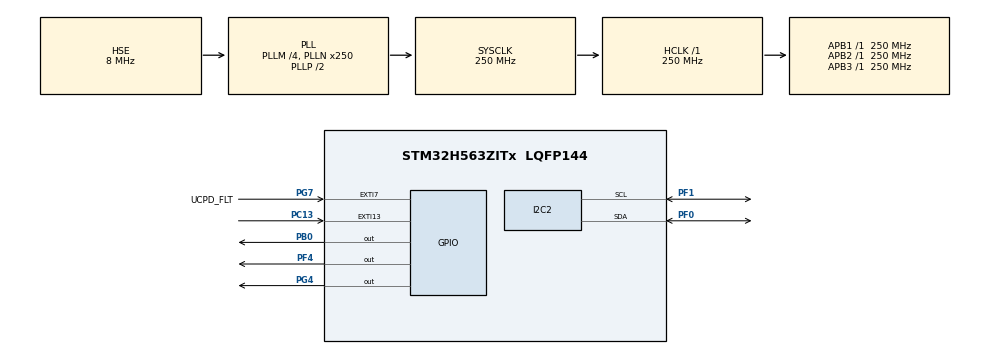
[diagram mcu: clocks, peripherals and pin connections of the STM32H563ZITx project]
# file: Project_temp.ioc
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BOOTPATH.BootPathName=LEGACY
BOOTPATH.UserSelectedBootPath=LEGACY
CORTEX_M33_NS.userName=CORTEX_M33
I2C2.Timing=0x60808CD3
Mcu.Family=STM32H5
Mcu.Name=STM32H563ZITx
Mcu.Package=LQFP144
NVIC.PriorityGroup=NVIC_PRIORITYGROUP_4
PA1.GPIO_Label=RMII_REF_CLK
PA1.GPIO_Mode=GPIO_MODE_AF_PP
PA1.GPIO_PuPd=GPIO_NOPULL
PA1.GPIO_Speed=GPIO_SPEED_FREQ_LOW
PA1.Signal=ETH_REF_CLK
PA11.GPIO_Label=USB_FS_N
PA11.Signal=USB_DM
PA12.GPIO_Label=USB_FS_P
PA12.Signal=USB_DP
PA13(JTMS/SWDIO).GPIO_Label=SWDIO
PA13(JTMS/SWDIO).Signal=DEBUG_JTMS-SWDIO
PA14(JTCK/SWCLK).GPIO_Label=SWCLK
PA14(JTCK/SWCLK).Signal=DEBUG_JTCK-SWCLK
PA15(JTDI).GPIO_Label=T_JTDI
PA15(JTDI).Signal=DEBUG_JTDI
PA2.GPIO_Label=RMII_MDIO
PA2.GPIO_Mode=GPIO_MODE_AF_PP
PA2.GPIO_PuPd=GPIO_NOPULL
PA2.GPIO_Speed=GPIO_SPEED_FREQ_LOW
PA2.Signal=ETH_MDIO
PA4.GPIO_Label=VBUS_SENSE
PA4.Signal=ADCx_INP18
PA7.GPIO_Label=RMII_CRS_DV
PA7.GPIO_Mode=GPIO_MODE_AF_PP
PA7.GPIO_PuPd=GPIO_NOPULL
PA7.GPIO_Speed=GPIO_SPEED_FREQ_LOW
PA7.Signal=ETH_CRS_DV
PA9.GPIO_Label=UCDP_DBn
PA9.Signal=UCPD1_DB1
PB0.Signal=GPIO_Output
PB13.GPIO_Label=UCPD_CC1
PB13.Signal=UCPD1_CC1
PB14.GPIO_Label=UCPD_CC2
PB14.Signal=UCPD1_CC2
PB15.GPIO_Label=RMII_TXD1
PB15.GPIO_Mode=GPIO_MODE_AF_PP
PB15.GPIO_PuPd=GPIO_NOPULL
PB15.GPIO_Speed=GPIO_SPEED_FREQ_LOW
PB15.Signal=ETH_TXD1
PB3(JTDO/TRACESWO).GPIO_Label=SWO
PB3(JTDO/TRACESWO).Signal=DEBUG_JTDO-SWO
PB6.GPIO_Label=ARD_D1_TX
PB6.Signal=LPUART1_TX
PB7.GPIO_Label=ARD_D0_RX
PB7.Signal=LPUART1_RX
PC1.GPIO_Label=RMII_MDC
PC1.GPIO_Mode=GPIO_MODE_AF_PP
PC1.GPIO_PuPd=GPIO_NOPULL
PC1.GPIO_Speed=GPIO_SPEED_FREQ_LOW
PC1.Signal=ETH_MDC
PC13.Signal=GPXTI13
PC14-OSC32_IN(OSC32_IN).Mode=LSE-External-Oscillator
PC14-OSC32_IN(OSC32_IN).Signal=RCC_OSC32_IN
PC15-OSC32_OUT(OSC32_OUT).Mode=LSE-External-Oscillator
PC15-OSC32_OUT(OSC32_OUT).Signal=RCC_OSC32_OUT
PC4.GPIO_Label=RMII_RXD0
PC4.GPIO_Mode=GPIO_MODE_AF_PP
PC4.GPIO_PuPd=GPIO_NOPULL
PC4.GPIO_Speed=GPIO_SPEED_FREQ_LOW
PC4.Signal=ETH_RXD0
PC5.GPIO_Label=RMII_RXD1
PC5.GPIO_Mode=GPIO_MODE_AF_PP
PC5.GPIO_PuPd=GPIO_NOPULL
PC5.GPIO_Speed=GPIO_SPEED_FREQ_LOW
PC5.Signal=ETH_RXD1
PD8.Signal=USART3_TX
PD9.Signal=USART3_RX
PE2.GPIO_Label=TRACE_CK
PE2.Signal=DEBUG_TRACECLK
PE3.GPIO_Label=TRACE_D0
PE3.Signal=DEBUG_TRACED0
PE4.GPIO_Label=TRACE_D1
PE4.Signal=DEBUG_TRACED1
PE5.GPIO_Label=TRACE_D2
PE5.Signal=DEBUG_TRACED2
PE6.GPIO_Label=TRACE_D3
PE6.Signal=DEBUG_TRACED3
PF0.Mode=I2C
PF0.Signal=I2C2_SDA
PF1.Mode=I2C
PF1.Signal=I2C2_SCL
PF4.Signal=GPIO_Output
PG11.GPIO_Label=RMII_TXT_EN
PG11.GPIO_Mode=GPIO_MODE_AF_PP
PG11.GPIO_PuPd=GPIO_NOPULL
PG11.GPIO_Speed=GPIO_SPEED_FREQ_LOW
PG11.Signal=ETH_TX_EN
PG13.GPIO_Label=RMI_TXD0
PG13.GPIO_Mode=GPIO_MODE_AF_PP
PG13.GPIO_PuPd=GPIO_NOPULL
PG13.GPIO_Speed=GPIO_SPEED_FREQ_LOW
PG13.Signal=ETH_TXD0
PG4.Signal=GPIO_Output
PG7.GPIO_Label=UCPD_FLT
PG7.Signal=GPXTI7
PH0-OSC_IN(PH0).GPIO_Label=STLK_MCO
PH0-OSC_IN(PH0).Mode=HSE-External-Clock-Source
PH0-OSC_IN(PH0).Signal=RCC_OSC_IN
ProjectManager.HeapSize=0x200
ProjectManager.StackSize=0x400
ProjectManager.TargetToolchain=STM32CubeIDE
RCC.ADCFreq_Value=250000000
RCC.AHBFreq_Value=250000000
RCC.APB1Freq_Value=250000000
RCC.APB1TimFreq_Value=250000000
RCC.APB2Freq_Value=250000000
RCC.APB2TimFreq_Value=250000000
RCC.APB3Freq_Value=250000000
RCC.CSI_VALUE=4000000
RCC.CortexFreq_Value=250000000
RCC.EPOD_VALUE=8000000
RCC.HCLKFreq_Value=250000000
RCC.HSE_VALUE=8000000
RCC.HSI48_VALUE=48000000
RCC.HSIDiv=RCC_HSI_DIV1
RCC.HSI_VALUE=64000000
RCC.LSIRC_VALUE=32000
RCC.PLLM=4
RCC.PLLN=250
RCC.PLLSourceVirtual=RCC_PLL1_SOURCE_HSE
RCC.SYSCLKFreq_VALUE=250000000
RCC.SYSCLKSource=RCC_SYSCLKSOURCE_PLLCLK
RCC.USBFreq_Value=48000000
RCC.VCOOutputFreq_Value=500000000
SH.ADCx_INP18.0=ADC1_INP18
VP_BOOTPATH_VS_BOOTPATH.Mode=BP_Activate
VP_CORTEX_M33_NS_VS_Hclk.Mode=Hclk_Mode
VP_MEMORYMAP_VS_MEMORYMAP.Mode=CurAppReg
VP_PWR_VS_DBSignals.Mode=DisableDeadBatterySignals
VP_PWR_VS_LPOM.Mode=PowerOptimisation
VP_PWR_VS_SECSignals.Mode=Security/Privilege
board=NUCLEO-H563ZI

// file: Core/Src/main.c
/* USER CODE BEGIN Header */
/**
  ******************************************************************************
  * @file           : main.c
  * @brief          : Main program body
  ******************************************************************************
  * @attention
  *
  * Copyright (c) 2025 STMicroelectronics.
  * All rights reserved.
  *
  * This software is licensed under terms that can be found in the LICENSE file
  * in the root directory of this software component.
  * If no LICENSE file comes with this software, it is provided AS-IS.
  *
  ******************************************************************************
  */
/* USER CODE END Header */
#include "main.h"

/* USER CODE BEGIN Includes */
#include <stdio.h>
/* USER CODE END Includes */

/* USER CODE BEGIN PM */
#define TMP117_ADDR         (0x48 << 1)   // 7-bit address shifted for HAL
#define TMP117_TEMP_REG     0x00
/* USER CODE END PM */

I2C_HandleTypeDef hi2c2;

void SystemClock_Config(void);
static void MX_GPIO_Init(void);
static void MX_I2C2_Init(void);

/* USER CODE BEGIN 0 */
float TMP117_ReadTemperature(void)
{
    uint8_t rx_buf[2] = {0};
    int16_t raw_temp = 0;
    float temperature = -999.9f;  // Default error value

    HAL_Delay(10);  // Sensor startup delay

    // Read 2 bytes from temperature register (0x00)
    if (HAL_I2C_Mem_Read(&hi2c2, TMP117_ADDR, TMP117_TEMP_REG,
                         I2C_MEMADD_SIZE_8BIT, rx_buf, 2, HAL_MAX_DELAY) == HAL_OK)
    {
        raw_temp = (int16_t)((rx_buf[0] << 8) | rx_buf[1]);
        temperature = raw_temp * 0.0078125f;
    }

    return temperature;
}

uint16_t TMP117_ReadDeviceID(void)
{
    uint8_t id_buf[2] = {0};
    uint16_t device_id = 0xFFFF;  // default error value

    // Read 2 bytes from Device ID register (0x0F)
    if (HAL_I2C_Mem_Read(&hi2c2, TMP117_ADDR, 0x0F,
                         I2C_MEMADD_SIZE_8BIT, id_buf, 2, HAL_MAX_DELAY) == HAL_OK)
    {
        device_id = (id_buf[0] << 8) | id_buf[1];
    }

    return device_id;
}

/* USER CODE END 0 */

int main(void)
{

  /* MCU Configuration--------------------------------------------------------*/

  /* Reset of all peripherals, Initializes the Flash interface and the Systick. */
  HAL_Init();

  /* Configure the system clock */
  SystemClock_Config();

  /* Initialize all configured peripherals */
  MX_GPIO_Init();
  MX_I2C2_Init();
  /* USER CODE BEGIN 2 */
  char msg[64];
  /* USER CODE END 2 */

  /* Infinite loop */
  while (1)
  {

    /* USER CODE BEGIN 3 */
	  uint16_t dev_id = TMP117_ReadDeviceID();
	  printf("TMP117 Device ID: 0x%04X\r\n", dev_id);

	  float temperature = TMP117_ReadTemperature();

	  snprintf(msg, sizeof(msg), "Temperature: %.2f°C\r\n", temperature);
	  //HAL_UART_Transmit(&huart2, (uint8_t*)msg, strlen(msg), HAL_MAX_DELAY);
	  printf("%s", msg);
	   HAL_Delay(1000);  // 1s delay
  }
  /* USER CODE END 3 */
}

void SystemClock_Config(void)
{
  RCC_OscInitTypeDef RCC_OscInitStruct = {0};
  RCC_ClkInitTypeDef RCC_ClkInitStruct = {0};

  /** Configure the main internal regulator output voltage
  */
  __HAL_PWR_VOLTAGESCALING_CONFIG(PWR_REGULATOR_VOLTAGE_SCALE0);

  while(!__HAL_PWR_GET_FLAG(PWR_FLAG_VOSRDY)) {}

  /** Initializes the RCC Oscillators according to the specified parameters
  * in the RCC_OscInitTypeDef structure.
  */
  RCC_OscInitStruct.OscillatorType = RCC_OSCILLATORTYPE_HSE;
  RCC_OscInitStruct.HSEState = RCC_HSE_BYPASS;
  RCC_OscInitStruct.PLL.PLLState = RCC_PLL_ON;
  RCC_OscInitStruct.PLL.PLLSource = RCC_PLL1_SOURCE_HSE;
  RCC_OscInitStruct.PLL.PLLM = 4;
  RCC_OscInitStruct.PLL.PLLN = 250;
  RCC_OscInitStruct.PLL.PLLP = 2;
  RCC_OscInitStruct.PLL.PLLQ = 2;
  RCC_OscInitStruct.PLL.PLLR = 2;
  RCC_OscInitStruct.PLL.PLLRGE = RCC_PLL1_VCIRANGE_1;
  RCC_OscInitStruct.PLL.PLLVCOSEL = RCC_PLL1_VCORANGE_WIDE;
  RCC_OscInitStruct.PLL.PLLFRACN = 0;
  if (HAL_RCC_OscConfig(&RCC_OscInitStruct) != HAL_OK)
  {
    Error_Handler();
  }

  /** Initializes the CPU, AHB and APB buses clocks
  */
  RCC_ClkInitStruct.ClockType = RCC_CLOCKTYPE_HCLK|RCC_CLOCKTYPE_SYSCLK
                              |RCC_CLOCKTYPE_PCLK1|RCC_CLOCKTYPE_PCLK2
                              |RCC_CLOCKTYPE_PCLK3;
  RCC_ClkInitStruct.SYSCLKSource = RCC_SYSCLKSOURCE_PLLCLK;
  RCC_ClkInitStruct.AHBCLKDivider = RCC_SYSCLK_DIV1;
  RCC_ClkInitStruct.APB1CLKDivider = RCC_HCLK_DIV1;
  RCC_ClkInitStruct.APB2CLKDivider = RCC_HCLK_DIV1;
  RCC_ClkInitStruct.APB3CLKDivider = RCC_HCLK_DIV1;

  if (HAL_RCC_ClockConfig(&RCC_ClkInitStruct, FLASH_LATENCY_5) != HAL_OK)
  {
    Error_Handler();
  }

  /** Configure the programming delay
  */
  __HAL_FLASH_SET_PROGRAM_DELAY(FLASH_PROGRAMMING_DELAY_2);
}

static void MX_I2C2_Init(void)
{

  hi2c2.Instance = I2C2;
  hi2c2.Init.Timing = 0x60808CD3;
  hi2c2.Init.OwnAddress1 = 0;
  hi2c2.Init.AddressingMode = I2C_ADDRESSINGMODE_7BIT;
  hi2c2.Init.DualAddressMode = I2C_DUALADDRESS_DISABLE;
  hi2c2.Init.OwnAddress2 = 0;
  hi2c2.Init.OwnAddress2Masks = I2C_OA2_NOMASK;
  hi2c2.Init.GeneralCallMode = I2C_GENERALCALL_DISABLE;
  hi2c2.Init.NoStretchMode = I2C_NOSTRETCH_DISABLE;
  if (HAL_I2C_Init(&hi2c2) != HAL_OK)
  {
    Error_Handler();
  }

  /** Configure Analogue filter
  */
  if (HAL_I2CEx_ConfigAnalogFilter(&hi2c2, I2C_ANALOGFILTER_ENABLE) != HAL_OK)
  {
    Error_Handler();
  }

  /** Configure Digital filter
  */
  if (HAL_I2CEx_ConfigDigitalFilter(&hi2c2, 0) != HAL_OK)
  {
    Error_Handler();
  }

}

static void MX_GPIO_Init(void)
{
  GPIO_InitTypeDef GPIO_InitStruct = {0};

  /* GPIO Ports Clock Enable */
  __HAL_RCC_GPIOE_CLK_ENABLE();
  __HAL_RCC_GPIOC_CLK_ENABLE();
  __HAL_RCC_GPIOF_CLK_ENABLE();
  __HAL_RCC_GPIOH_CLK_ENABLE();
  __HAL_RCC_GPIOA_CLK_ENABLE();
  __HAL_RCC_GPIOB_CLK_ENABLE();
  __HAL_RCC_GPIOD_CLK_ENABLE();
  __HAL_RCC_GPIOG_CLK_ENABLE();

  /*Configure GPIO pin Output Level */
  HAL_GPIO_WritePin(GPIOF, GPIO_PIN_4, GPIO_PIN_RESET);

  /*Configure GPIO pin Output Level */
  HAL_GPIO_WritePin(GPIOB, GPIO_PIN_0, GPIO_PIN_RESET);

  /*Configure GPIO pin Output Level */
  HAL_GPIO_WritePin(GPIOG, GPIO_PIN_4, GPIO_PIN_RESET);

  /*Configure GPIO pin : PC13 */
  GPIO_InitStruct.Pin = GPIO_PIN_13;
  GPIO_InitStruct.Mode = GPIO_MODE_IT_RISING;
  GPIO_InitStruct.Pull = GPIO_NOPULL;
  HAL_GPIO_Init(GPIOC, &GPIO_InitStruct);

  /*Configure GPIO pin : PF4 */
  GPIO_InitStruct.Pin = GPIO_PIN_4;
  GPIO_InitStruct.Mode = GPIO_MODE_OUTPUT_PP;
  GPIO_InitStruct.Pull = GPIO_NOPULL;
  GPIO_InitStruct.Speed = GPIO_SPEED_FREQ_LOW;
  HAL_GPIO_Init(GPIOF, &GPIO_InitStruct);

  /*Configure GPIO pins : RMII_MDC_Pin RMII_RXD0_Pin RMII_RXD1_Pin */
  GPIO_InitStruct.Pin = RMII_MDC_Pin|RMII_RXD0_Pin|RMII_RXD1_Pin;
  GPIO_InitStruct.Mode = GPIO_MODE_AF_PP;
  GPIO_InitStruct.Pull = GPIO_NOPULL;
  GPIO_InitStruct.Speed = GPIO_SPEED_FREQ_HIGH;
  GPIO_InitStruct.Alternate = GPIO_AF11_ETH;
  HAL_GPIO_Init(GPIOC, &GPIO_InitStruct);

  /*Configure GPIO pins : RMII_REF_CLK_Pin RMII_MDIO_Pin RMII_CRS_DV_Pin */
  GPIO_InitStruct.Pin = RMII_REF_CLK_Pin|RMII_MDIO_Pin|RMII_CRS_DV_Pin;
  GPIO_InitStruct.Mode = GPIO_MODE_AF_PP;
  GPIO_InitStruct.Pull = GPIO_NOPULL;
  GPIO_InitStruct.Speed = GPIO_SPEED_FREQ_HIGH;
  GPIO_InitStruct.Alternate = GPIO_AF11_ETH;
  HAL_GPIO_Init(GPIOA, &GPIO_InitStruct);

  /*Configure GPIO pin : VBUS_SENSE_Pin */
  GPIO_InitStruct.Pin = VBUS_SENSE_Pin;
  GPIO_InitStruct.Mode = GPIO_MODE_ANALOG;
  GPIO_InitStruct.Pull = GPIO_NOPULL;
  HAL_GPIO_Init(VBUS_SENSE_GPIO_Port, &GPIO_InitStruct);

  /*Configure GPIO pin : PB0 */
  GPIO_InitStruct.Pin = GPIO_PIN_0;
  GPIO_InitStruct.Mode = GPIO_MODE_OUTPUT_PP;
  GPIO_InitStruct.Pull = GPIO_NOPULL;
  GPIO_InitStruct.Speed = GPIO_SPEED_FREQ_LOW;
  HAL_GPIO_Init(GPIOB, &GPIO_InitStruct);

  /*Configure GPIO pins : UCPD_CC1_Pin UCPD_CC2_Pin */
  GPIO_InitStruct.Pin = UCPD_CC1_Pin|UCPD_CC2_Pin;
  GPIO_InitStruct.Mode = GPIO_MODE_ANALOG;
  GPIO_InitStruct.Pull = GPIO_NOPULL;
  HAL_GPIO_Init(GPIOB, &GPIO_InitStruct);

  /*Configure GPIO pin : RMII_TXD1_Pin */
  GPIO_InitStruct.Pin = RMII_TXD1_Pin;
  GPIO_InitStruct.Mode = GPIO_MODE_AF_PP;
  GPIO_InitStruct.Pull = GPIO_NOPULL;
  GPIO_InitStruct.Speed = GPIO_SPEED_FREQ_HIGH;
  GPIO_InitStruct.Alternate = GPIO_AF11_ETH;
  HAL_GPIO_Init(RMII_TXD1_GPIO_Port, &GPIO_InitStruct);

  /*Configure GPIO pins : PD8 PD9 */
  GPIO_InitStruct.Pin = GPIO_PIN_8|GPIO_PIN_9;
  GPIO_InitStruct.Mode = GPIO_MODE_AF_PP;
  GPIO_InitStruct.Pull = GPIO_NOPULL;
  GPIO_InitStruct.Speed = GPIO_SPEED_FREQ_LOW;
  GPIO_InitStruct.Alternate = GPIO_AF7_USART3;
  HAL_GPIO_Init(GPIOD, &GPIO_InitStruct);

  /*Configure GPIO pin : PG4 */
  GPIO_InitStruct.Pin = GPIO_PIN_4;
  GPIO_InitStruct.Mode = GPIO_MODE_OUTPUT_PP;
  GPIO_InitStruct.Pull = GPIO_NOPULL;
  GPIO_InitStruct.Speed = GPIO_SPEED_FREQ_LOW;
  HAL_GPIO_Init(GPIOG, &GPIO_InitStruct);

  /*Configure GPIO pin : UCPD_FLT_Pin */
  GPIO_InitStruct.Pin = UCPD_FLT_Pin;
  GPIO_InitStruct.Mode = GPIO_MODE_IT_RISING;
  GPIO_InitStruct.Pull = GPIO_NOPULL;
  HAL_GPIO_Init(UCPD_FLT_GPIO_Port, &GPIO_InitStruct);

  /*Configure GPIO pins : USB_FS_N_Pin USB_FS_P_Pin */
  GPIO_InitStruct.Pin = USB_FS_N_Pin|USB_FS_P_Pin;
  GPIO_InitStruct.Mode = GPIO_MODE_AF_PP;
  GPIO_InitStruct.Pull = GPIO_NOPULL;
  GPIO_InitStruct.Speed = GPIO_SPEED_FREQ_LOW;
  GPIO_InitStruct.Alternate = GPIO_AF10_USB;
  HAL_GPIO_Init(GPIOA, &GPIO_InitStruct);

  /*Configure GPIO pins : RMII_TXT_EN_Pin RMI_TXD0_Pin */
  GPIO_InitStruct.Pin = RMII_TXT_EN_Pin|RMI_TXD0_Pin;
  GPIO_InitStruct.Mode = GPIO_MODE_AF_PP;
  GPIO_InitStruct.Pull = GPIO_NOPULL;
  GPIO_InitStruct.Speed = GPIO_SPEED_FREQ_HIGH;
  GPIO_InitStruct.Alternate = GPIO_AF11_ETH;
  HAL_GPIO_Init(GPIOG, &GPIO_InitStruct);

  /*Configure GPIO pins : ARD_D1_TX_Pin ARD_D0_RX_Pin */
  GPIO_InitStruct.Pin = ARD_D1_TX_Pin|ARD_D0_RX_Pin;
  GPIO_InitStruct.Mode = GPIO_MODE_AF_PP;
  GPIO_InitStruct.Pull = GPIO_NOPULL;
  GPIO_InitStruct.Speed = GPIO_SPEED_FREQ_LOW;
  GPIO_InitStruct.Alternate = GPIO_AF8_LPUART1;
  HAL_GPIO_Init(GPIOB, &GPIO_InitStruct);

}

void Error_Handler(void)
{
  __disable_irq();
  while (1)
  {
  }
}
